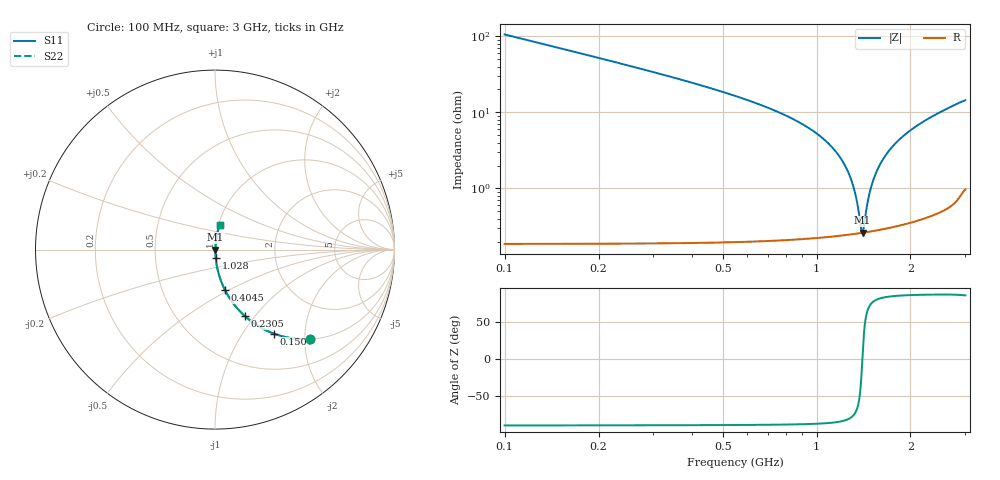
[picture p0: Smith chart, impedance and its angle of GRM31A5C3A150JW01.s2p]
!Murata Part Number: GRM31A5C3A150JW01
!These Parameters are Measured in Series Mode Connection
!Data Generated on Mar 30, 2021
!  o--ll--o
!Port1  Port2
!  o------o
!Operation Temp=25[degC], DC Bias Voltage=0[V]
!Freq. Start=100[MHz] Stop=3[GHz] 401[Steps]
# Hz S RI R 50
!Freq.(Hz) S11(Real) S11(Imag) S21(Real) S21(Imag) S12(Real) S12(Imag) S22(Real) S22(Imag)
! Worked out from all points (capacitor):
!   401 points, 100 MHz to 3 GHz, reference 50 ohm
!   read as one part in series: C = 15 pF near 114.5 MHz
!   lowest |Z| = 263 mohm at 1.405 GHz (marker M1)
!   series resonance near 1.402 GHz, so ESL is about 860 pH
!   S11 on the Smith chart (normalised r, x): 100 MHz: 1.00, -2.11; 150.8 MHz: 1.00, -1.39; 230.5 MHz: 1.00, -0.90; 404.5 MHz: 1.00, -0.48; 1.028 GHz: 1.00, -0.10; 3 GHz: 1.02, +0.29
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1e8  0.5271 -0.4984  0.4729 0.4984  0.4729 0.4984  0.5271 -0.4984
1.5075e8  0.3267 -0.4677  0.6733 0.4677  0.6733 0.4677  0.3267 -0.4677
2.305e8  0.1683 -0.3721  0.8317 0.3721  0.8317 0.3721  0.1683 -0.3721
4.045e8  0.0565 -0.227  0.9435 0.227  0.9435 0.227  0.0565 -0.227
5.8575e8  0.0239 -0.1463  0.9761 0.1463  0.9761 0.1463  0.0239 -0.1463
1.028e9  0.00457 -0.0481  0.9954 0.0481  0.9954 0.0481  0.00457 -0.0481
1.0715e9  0.00402 -0.0416  0.996 0.0416  0.996 0.0416  0.00402 -0.0416
1.1875e9  0.00304 -0.0256  0.997 0.0256  0.997 0.0256  0.00304 -0.0256
1.2745e9  0.00268 -0.0147  0.9973 0.0147  0.9973 0.0147  0.00268 -0.0147
1.32525e9  0.0026 -0.00873  0.9974 0.00873  0.9974 0.00873  0.0026 -0.00873
1.35425e9  0.00258 -0.0054  0.9974 0.0054  0.9974 0.0054  0.00258 -0.0054
1.3905e9  0.00259 -0.00132  0.9974 0.00132  0.9974 0.00132  0.00259 -0.00132
1.405e9  0.00261 0.000282  0.9974 -0.000282  0.9974 -0.000282  0.00261 0.000282
1.4195e9  0.00263 0.00187  0.9974 -0.00187  0.9974 -0.00187  0.00263 0.00187
1.4485e9  0.00268 0.005  0.9973 -0.005  0.9973 -0.005  0.00268 0.005
1.4775e9  0.00276 0.00809  0.9972 -0.00809  0.9972 -0.00809  0.00276 0.00809
1.55e9  0.00303 0.0156  0.997 -0.0156  0.997 -0.0156  0.00303 0.0156
1.62975e9  0.00345 0.0235  0.9965 -0.0235  0.9965 -0.0235  0.00345 0.0235
1.7385e9  0.00421 0.0339  0.9958 -0.0339  0.9958 -0.0339  0.00421 0.0339
2.03575e9  0.00728 0.0605  0.9927 -0.0605  0.9927 -0.0605  0.00728 0.0605
2.5215e9  0.0153 0.1011  0.9847 -0.1011  0.9847 -0.1011  0.0153 0.1011
3e9  0.0293 0.1384  0.9707 -0.1384  0.9707 -0.1384  0.0293 0.1384
